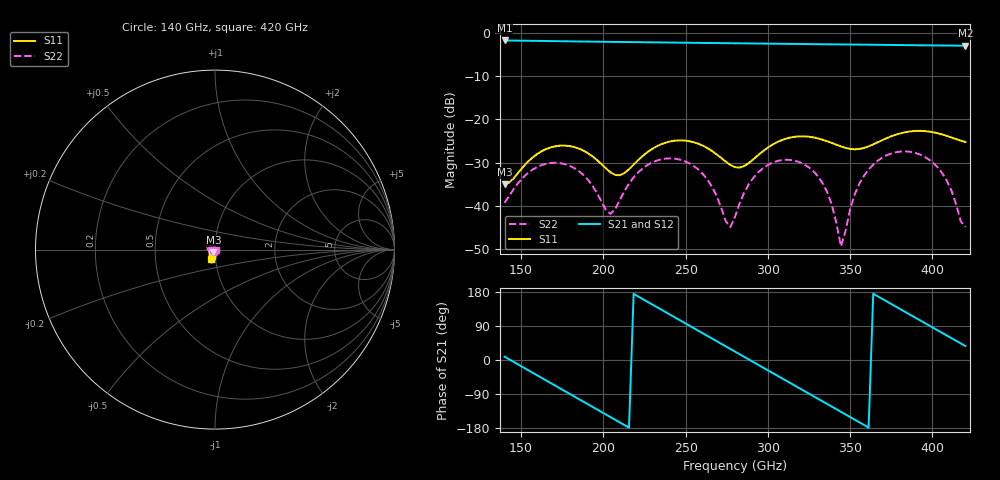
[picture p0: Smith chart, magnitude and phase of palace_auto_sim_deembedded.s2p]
! Created with skrf 1.11.0 (http://scikit-rf.org).
# GHz S DB R 50.0
!freq dBS11 angS11 dBS21 angS21 dBS12 angS12 dBS22 angS22
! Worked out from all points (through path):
!   101 points, 140 GHz to 420 GHz, reference 50 ohm
!   highest |S21| = -1.74 dB at 140 GHz (marker M1); lowest = -3.0 dB at 420 GHz (marker M2)
!   group delay of S21, straight-line fit = 6.86 ps
!   lowest |S11| = -34.9 dB at 140 GHz (marker M3), VSWR 1.04, Z = 49.1 - j1.54 ohm
!   |S11| at or under -10 dB: start of sweep to end of sweep
!   |S22| runs from -49.3 to -27.4 dB; largest |S21 - S12| = 8.8e-14
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140  -34.94 -118.7  -1.74 8.7  -1.74 8.7  -39.26 -119.1
154  -29.83 -89.9  -1.81 -26.1  -1.81 -26.1  -32.44 -114.4
168  -26.46 -105.0  -1.89 -60.8  -1.89 -60.8  -30.05 -140.3
187.6  -27.15 -132.6  -1.99 -109.4  -1.99 -109.4  -32.73 -178.2
204.4  -32.23 -128.4  -2.07 -150.9  -2.07 -150.9  -41.82 -148.0
218.4  -30.43 -90.7  -2.13 174.5  -2.13 174.5  -33.38 -116.1
235.2  -25.72 -97.9  -2.20 132.9  -2.20 132.9  -29.21 -147.2
257.6  -25.60 -125.9  -2.30 77.5  -2.30 77.5  -31.55 165.0
266  -27.29 -132.0  -2.33 56.7  -2.33 56.7  -35.54 152.3
274.4  -29.76 -128.1  -2.37 36.0  -2.37 36.0  -43.51 170.0
280  -31.03 -116.0  -2.39 22.1  -2.39 22.1  -42.47 -130.8
288.4  -30.07 -93.5  -2.43 1.4  -2.43 1.4  -34.97 -121.3
299.6  -26.59 -86.8  -2.48 -26.3  -2.48 -26.3  -30.60 -141.7
313.6  -24.18 -98.2  -2.54 -60.9  -2.54 -60.9  -29.36 -175.2
327.6  -24.15 -112.0  -2.59 -95.4  -2.59 -95.4  -31.97 147.3
338.8  -25.43 -117.0  -2.63 -123.0  -2.63 -123.0  -39.64 107.4
344.4  -26.24 -115.3  -2.66 -136.8  -2.66 -136.8  -49.28 34.6
355.6  -26.82 -103.2  -2.70 -164.5  -2.70 -164.5  -34.82 -86.7
375.2  -23.86 -95.5  -2.78 147.1  -2.78 147.1  -27.83 -144.3
400.4  -22.96 -114.1  -2.89 85.1  -2.89 85.1  -30.04 144.7
408.8  -23.81 -117.6  -2.92 64.4  -2.92 64.4  -34.22 115.9
420  -25.21 -114.2  -2.96 36.8  -2.96 36.8  -44.87 -2.7
